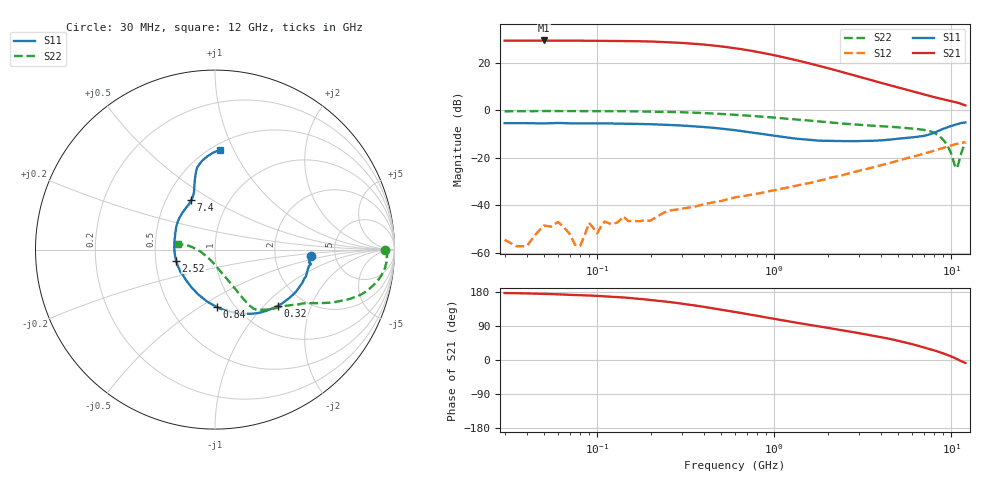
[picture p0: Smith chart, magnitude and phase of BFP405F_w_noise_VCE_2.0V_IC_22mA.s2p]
! (c) 2015  Infineon Technologies AG, Munich
! Infineon Technologies  Discrete & RF Semiconductors
! BFP405F
! VCE =  2.0 V,  IC =  22 mA
! Common Emitter S-Parameters:  Nov 2015
# GHz  S  MA  R  50
!  f  S11  S21  S12  S22
! GHz  MAG  ANG  MAG  ANG  MAG  ANG  MAG  ANG
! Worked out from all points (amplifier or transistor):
!   239 points, 30 MHz to 12 GHz, reference 50 ohm
!   highest |S21| = 29.3 dB at 50 MHz (marker M1)
!   |S21| within 3 dB of that: start of sweep to 565.3 MHz
!   unconditionally stable (mu >= 1): 74.64 MHz to 81.85 MHz; 1.403 GHz to end of sweep
!   at 300 MHz: K = 0.30, MSG = 34.8 dB, |S12| = -41.3 dB
!   at 1.88 GHz: K = 1.16, MAG = 21.3 dB, |S12| = -29.2 dB
!   at 12 GHz: K = 1.42, MAG = 3.9 dB, |S12| = -13.4 dB
!   lowest NFmin = 2.34 dB at 450 MHz
!   S11 on the Smith chart (normalised r, x): 30 MHz: 3.27, -0.33; 320 MHz: 1.50, -1.21; 840 MHz: 0.83, -0.59; 2.52 GHz: 0.64, -0.08; 7.4 GHz: 0.67, +0.40; 12 GHz: 0.55, +0.88
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0.03  0.5354 -3.9  28.89 176.6  0.0019 129.1  0.9489 -0.2
0.04  0.5353 -5.5  28.96 175.8  0.0014 61.5  0.9575 -0.8
0.05  0.5279 -7.8  29.15 174.3  0.0038 17.5  0.96 -1.8
0.06  0.5409 -8.5  28.93 173.4  0.0045 76.6  0.9596 -1.8
0.08  0.5308 -10.6  28.74 170.9  0.0014 -18.6  0.9601 -2.6
0.085  0.5297 -11.5  28.78 170.6  0.0024 42.9  0.9595 -3.0
0.12  0.5276 -16.8  28.51 167.2  0.0041 85.6  0.9566 -4.9
0.15  0.5205 -20.9  28.32 164.0  0.0047 79.7  0.9508 -6.5
0.2  0.5092 -27.2  27.75 158.3  0.0048 76.6  0.9392 -8.7
0.24  0.4967 -32.1  26.95 154.5  0.0072 69.4  0.9274 -10.2
0.32  0.4702 -41.6  25.48 147.1  0.0089 81.7  0.8993 -13.1
0.45  0.4292 -55.4  22.9 136.5  0.0116 73.7  0.8549 -16.9
0.6  0.3811 -69.6  20.02 126.6  0.0148 70.6  0.8034 -19.9
0.7  0.3529 -77.3  18.36 121.2  0.0162 69.3  0.7736 -21.4
0.84  0.321 -87.8  16.24 114.8  0.0183 69.8  0.7361 -23.2
1.2  0.2663 -110.7  12.29 102.1  0.024 70.0  0.6637 -26.6
1.64  0.2354 -132.6  9.279 91.6  0.0306 69.9  0.6006 -29.8
2.52  0.2249 -164.1  6.068 76.9  0.0452 69.0  0.5197 -36.7
4.5  0.2413 155.8  3.338 55.6  0.0781 62.9  0.4509 -47.6
7.4  0.3049 115.9  2.028 30.0  0.1298 50.9  0.3704 -58.1
10.6  0.5012 98.0  1.474 3.9  0.1952 32.6  0.0607 -121.6
12  0.5532 87.3  1.262 -7.6  0.2139 24.3  0.2079 171.1
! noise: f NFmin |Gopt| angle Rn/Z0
0.45  2.34  0.01  -136  0.48
0.9  2.36  0.03  -135  0.34
1.5  2.42  0.05  -131  0.37
1.9  2.49  0.07  -128  0.44
2.4  2.64  0.08  -126  0.18
3  2.75  0.1  -123  0.2
3.5  2.84  0.11  -120  0.29
4.5  3.11  0.16  -106  0.54
5.5  3.47  0.29  -88  0.55
